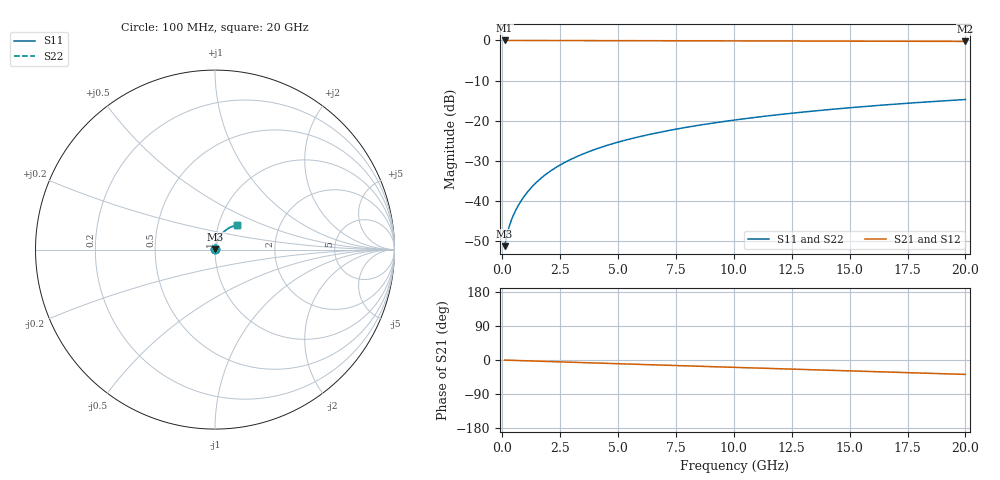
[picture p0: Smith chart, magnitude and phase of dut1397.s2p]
! Touchstone file exported from HFSS 2026.1.0
!  File:  C:/ffzhzh/LocalFiles/Ansys_Project_Files/temp_train_TMRDL_1397_1783166322_43440.aedt
!  Generated:  07:59:51 PM Jul  4, 2026
!  Design:  TMRDL
!  Project:  temp_train_TMRDL_1397_1783166322_43440
! Variables:
!  h_bsmrdl = 2um
!  h_ox = 20um
!  h_rdl = 5um
!  h_sub = 80um
!  h_tmrdl = 4.39um
!  h_tsv = 80um
!  h_via = 3um
!  l_bsmrdl = 300um
!  l_sub = 1038.89um
!  l_tmrdl = 638.89um
!  m_sub = 200um
!  pitch = 36.79um
!  r_tsv = 6um
!  s_tmrdl = 10um
!  w_bsmrdl = 18um
!  w_sub = 500um
!  w_tmrdl = 25.24um
!  x_tsv_center1 = 651.51um
!  x_tsv_center2 = 969.51um
!  x_tsv_center3 = 1633.64um
!  x_tsv_center4 = 1951.64um
!  x_tsv_center5 = 2615.77um
!  x_tsv_center6 = 2933.77um
# GHz S MA R 50.000000
! Terminal data exported
! Port[1] = TM_RDL1_1_T1
! Port[2] = TM_RDL1_1_T2
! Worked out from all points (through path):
!   200 points, 100 MHz to 20 GHz, reference 50 ohm
!   highest |S21| = -0.02 dB at 100 MHz (marker M1); lowest = -0.3 dB at 20 GHz (marker M2)
!   group delay of S21, straight-line fit = 5.27 ps
!   lowest |S11| = -51.3 dB at 100 MHz (marker M3), VSWR 1.01, Z = 50.2 + j0.146 ohm
!   |S11| at or under -10 dB: start of sweep to end of sweep
!   |S22| runs from -51.3 to -14.7 dB; largest |S21 - S12| = 4e-15
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0.1  0.002726 32.3  0.9977 -0.2  0.9977 -0.2  0.002726 32.3
! Gamma 0 0 0 0
! Port Impedance 50 0 50 0
0.2  0.003761 47.1  0.9974 -0.4  0.9974 -0.4  0.003761 47.1
0.3  0.004817 54.2  0.9972 -0.6  0.9972 -0.6  0.004817 54.2
0.4  0.005836 58.8  0.9971 -0.8  0.9971 -0.8  0.005836 58.8
0.5  0.00684 62.2  0.997 -1.0  0.997 -1.0  0.00684 62.2
0.6  0.007846 64.9  0.9969 -1.2  0.9969 -1.2  0.007846 64.9
0.8  0.009889 68.8  0.9967 -1.6  0.9967 -1.6  0.009889 68.8
1  0.01197 71.4  0.9966 -2.0  0.9966 -2.0  0.01197 71.4
1.2  0.01409 73.1  0.9965 -2.4  0.9965 -2.4  0.01409 73.1
1.4  0.01622 74.3  0.9964 -2.8  0.9964 -2.8  0.01622 74.3
1.7  0.01944 75.4  0.9961 -3.4  0.9961 -3.4  0.01944 75.4
2.2  0.02481 76.2  0.9957 -4.4  0.9957 -4.4  0.02481 76.2
2.8  0.03121 76.2  0.9951 -5.6  0.9951 -5.6  0.03121 76.2
3.5  0.03857 75.7  0.9943 -6.9  0.9943 -6.9  0.03858 75.7
4.2  0.04581 74.8  0.9934 -8.3  0.9934 -8.3  0.04581 74.8
5  0.05392 73.6  0.9924 -9.8  0.9924 -9.8  0.05392 73.6
6.8  0.0716 70.7  0.99 -13.3  0.99 -13.3  0.0716 70.7
8.3  0.08582 68.3  0.9879 -16.2  0.9879 -16.2  0.08583 68.3
10.1  0.1024 65.2  0.9854 -19.6  0.9854 -19.6  0.1024 65.2
13.4  0.1313 59.6  0.9806 -25.8  0.9806 -25.8  0.1313 59.6
16.7  0.1584 53.9  0.9756 -31.9  0.9756 -31.9  0.1584 53.9
20  0.1832 48.1  0.9704 -38.0  0.9704 -38.0  0.1832 48.1
